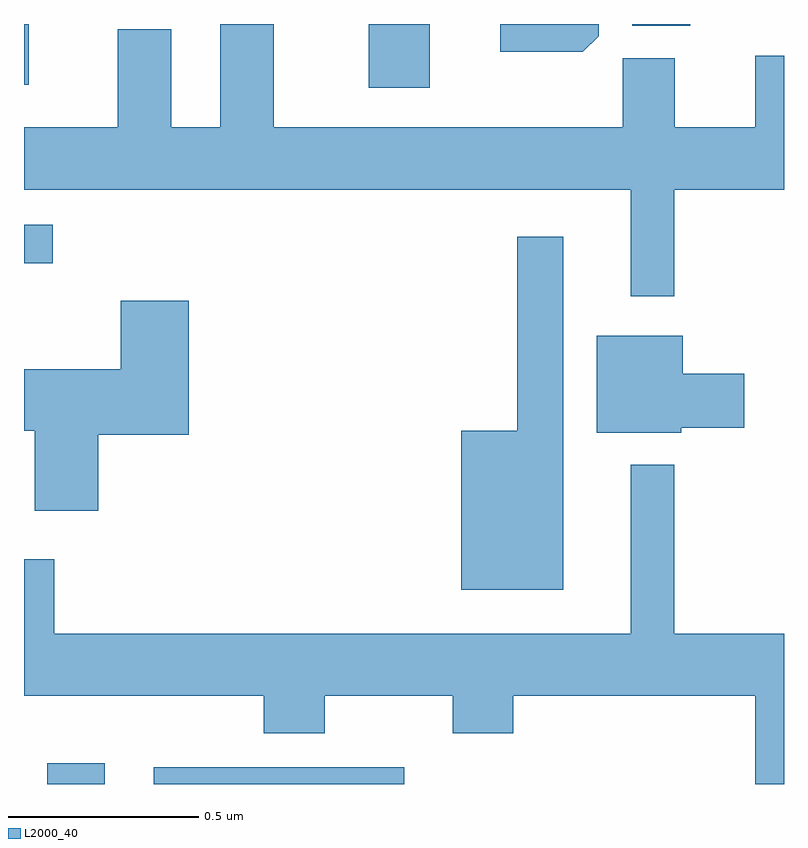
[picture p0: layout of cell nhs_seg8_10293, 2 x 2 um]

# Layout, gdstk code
import gdstk
lib = gdstk.Library(unit=1e-6, precision=1e-09)
def R(c, l, rs):  # rectangles x0, y0, x1, y1
    for r in rs: c.add(gdstk.rectangle(r[:2], r[2:], *l))
def P(c, l, *ps):  # polygons
    for p in ps: c.add(gdstk.Polygon(p, *l))
L2000_40 = (2000, 40)

nhs_seg8_10293 = lib.new_cell('nhs_seg8_10293')
R(nhs_seg8_10293, L2000_40, [(247.061,1150.9,247.213,1150.954), (247.341,1150.9,248,1150.944), (247,1152.271,247.075,1152.372), (247.907,1152.732,248.068,1152.9), (247,1152.74,247.012,1152.9), (248.6,1152.895,248.753,1152.9)])
P(nhs_seg8_10293, L2000_40, [(248.711,1152.464),(249,1152.464),(249,1152.817),(248.924,1152.817),(248.924,1152.628),(248.713,1152.628),(248.713,1152.81),(248.575,1152.81),(248.575,1152.628),(247.657,1152.628),(247.657,1152.9),(247.517,1152.9),(247.517,1152.628),(247.387,1152.628),(247.387,1152.886),(247.247,1152.886),(247.247,1152.628),(247,1152.628),(247,1152.464),(248.597,1152.464),(248.597,1152.183),(248.711,1152.183)],
  [(248.512,1152.868),(248.512,1152.9),(248.253,1152.9),(248.253,1152.827),(248.471,1152.827)],
  [(248.419,1152.34),(248.298,1152.34),(248.298,1151.83),(248.15,1151.83),(248.15,1151.411),(248.419,1151.411)],
  [(247.196,1151.819),(247.433,1151.819),(247.433,1152.172),(247.255,1152.172),(247.255,1151.992),(247,1151.992),(247,1151.83),(247.028,1151.83),(247.028,1151.619),(247.196,1151.619)],
  [(248.73,1151.837),(248.896,1151.837),(248.896,1151.979),(248.734,1151.979),(248.734,1152.079),(248.507,1152.079),(248.507,1151.825),(248.73,1151.825)],
  [(249,1151.296),(248.711,1151.296),(248.711,1151.74),(248.597,1151.74),(248.597,1151.296),(247.079,1151.296),(247.079,1151.491),(247,1151.491),(247,1151.132),(247.631,1151.132),(247.631,1151.033),(247.791,1151.033),(247.791,1151.132),(248.128,1151.132),(248.128,1151.033),(248.288,1151.033),(248.288,1151.132),(248.924,1151.132),(248.924,1150.9),(249,1150.9)])

lib.write_gds('nhs_seg8_10293.gds')
